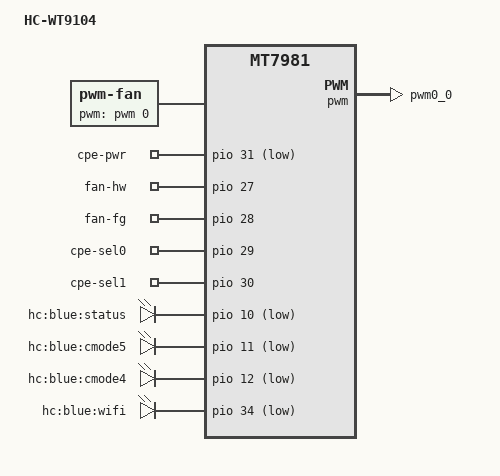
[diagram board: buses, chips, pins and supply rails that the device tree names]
/dts-v1/;

#include "mt7981-nradio-emmc.dtsi"

/ {
	model = "HC-WT9104";

	aliases {
		led-boot = &led_status;
		led-failsafe = &led_status;
		led-running = &led_status;
		led-upgrade = &led_status;
	};

	fan: pwm-fan {
		compatible = "pwm-fan";
		cooling-min-state = <0>;
		cooling-max-state = <3>;
		#cooling-cells = <2>;
		pwms = <&pwm 0 40000 0>;
		//pinctrl-0 = <&fan_pins>;
		pinctrl-names = "default";
		cooling-levels = <127 166 204 255>;
	};

	gpio_export {
		compatible = "gpio-export";
		#size-cells = <0>;

		cpepower {
			gpio-export,name = "cpe-pwr";
			gpio-export,output = <0>;
			gpios = <&pio 31 GPIO_ACTIVE_LOW>;
		};

		fanpower {
			gpio-export,name = "fan-hw";
			gpio-export,output = <0>;
			gpios = <&pio 27 GPIO_ACTIVE_HIGH>;
		};

		fanfg {
			gpio-export,name = "fan-fg";
			gpio-export,output = <1>;
			gpios = <&pio 28 GPIO_ACTIVE_HIGH>;
		};

		cpesel0 {
			gpio-export,name = "cpe-sel0";
			gpio-export,output = <1>;
			gpios = <&pio 29 GPIO_ACTIVE_HIGH>;
		};

		cpesel1 {
			gpio-export,name = "cpe-sel1";
			gpio-export,output = <1>;
			gpios = <&pio 30 GPIO_ACTIVE_HIGH>;
		};
	};

	gpio-leds {
		compatible = "gpio-leds";

		led_status: status {
			label = "hc:blue:status";
			gpios = <&pio 10 GPIO_ACTIVE_LOW>;
		};

		cmode5 {
			label = "hc:blue:cmode5";
			gpios = <&pio 11 GPIO_ACTIVE_LOW>;
		};

		cmode4 {
			label = "hc:blue:cmode4";
			gpios = <&pio 12 GPIO_ACTIVE_LOW>;
		};

		wifi {
			label = "hc:blue:wifi";
			gpios = <&pio 34 GPIO_ACTIVE_LOW>;
		};
	};
};

/*
&cpu_thermal {
	trips {
		cpu_trip_critical: critical {
			temperature = <100000>;
			hysteresis = <2000>;
			type = "critical";
		};

		cpu_trip_hot: hot {
			temperature = <80000>;
			hysteresis = <2000>;
			type = "hot";
		};

		cpu_trip_active: active {
			temperature = <60000>;
			hysteresis = <2000>;
			type = "active";
		};

		cpu_trip_passive: passive {
			temperature = <40000>;
			hysteresis = <2000>;
			type = "passive";
		};
	};

	cooling-maps {
		cpu-active-high {
			cooling-device = <&fan 3 3>;
			trip = <&cpu_trip_critical>;
		};

		cpu-active-low {
			cooling-device = <&fan 2 2>;
			trip = <&cpu_trip_hot>;
		};

		cpu-active {
			cooling-device = <&fan 1 1>;
			trip = <&cpu_trip_active>;
		};

		cpu-passive {
			cooling-device = <&fan 0 0>;
			trip = <&cpu_trip_passive>;
		};
	};
};
*/

&pio {
	pwm0_pin: pwm0-pin-g0 {
		mux {
			function = "pwm";
			groups = "pwm0_0";
		};
	};
};

&pwm {
	pinctrl-names = "default";
	pinctrl-0 = <&pwm0_pin>;
	status = "okay";
};
